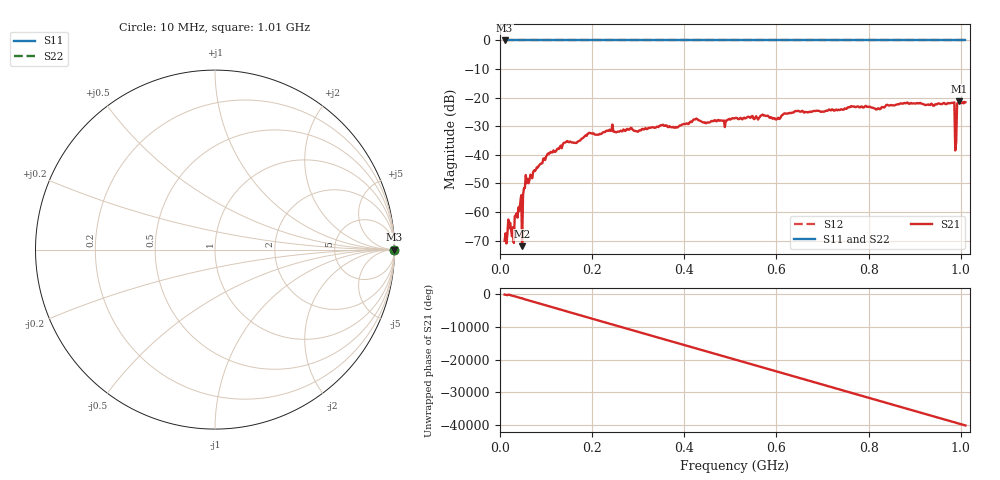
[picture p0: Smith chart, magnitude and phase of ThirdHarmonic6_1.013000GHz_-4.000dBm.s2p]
! 8/16/2025 8:22:04 AM
! C:\ANRITSUVNA\TEMP\TEMP.S2P
! CHANNEL.1
! TR.MEASUREMENT
! RAW.DATA
! RF.CORRECTION.OFF
! AVERAGING.OFF
! IF.BANDWIDTH: 5KHZ
! SWEEPTYPE:  FREQ.SWEEP(Linear)
! Reference Plane Port Info
! PORT:  PORT1  PORT2
! DISTANCE:  0  m  0  m
! TIME:  0  s  0  s
! PHASE.OFFSET:  0  deg.  0  deg.
! LOSS:  0  dB  0  dB
! REF.LOSS:  0  dB  0  dB
! REF.FREQ:  0  Hz  0  Hz
! Power Info
! POWER:  -20  dBm  -20  dBm
! EFF.POWER:  -20  dBm  -20  dBm
! SOURCE.ATTEN:  0  dB  0  dB
! TEST.ATTEN:  0  dB  0  dB
# GHZ S RI R 50.0
! FREQ.GHZ  S11RE  S11IM  S21RE  S21IM  S12RE  S12IM  S22RE  S22IM
!; PortSelection: Port_12
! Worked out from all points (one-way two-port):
!   501 points, 10 MHz to 1.01 GHz, reference 50 ohm
!   highest |S21| = -21.34 dB at 996 MHz (marker M1); lowest = -72.0 dB at 48 MHz (marker M2)
!   lowest |S11| = 0.0 dB at 10 MHz (marker M3)
!   |S11| at or under -10 dB: nowhere
!   |S22| runs from 0.0 to 0.0 dB; largest |S21 - S12| = 1.1
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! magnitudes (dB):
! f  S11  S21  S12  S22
! 10 MHz  0.0  -70.1  0.0  0.0
! 20 MHz  0.0  -65.7  0.0  0.0
! 28 MHz  0.0  -65.4  0.0  0.0
! 36 MHz  0.0  -60.5  0.0  0.0
! 48 MHz  0.0  -72.0  0.0  0.0
! 52 MHz  0.0  -51.7  0.0  0.0
! 54 MHz  0.0  -51.7  0.0  0.0
! 56 MHz  0.0  -47.1  0.0  0.0
! 104 MHz  0.0  -39.6  0.0  0.0
! 178 MHz  0.0  -34.3  0.0  0.0
! 240 MHz  0.0  -31.7  0.0  0.0
! 344 MHz  0.0  -30.3  0.0  0.0
! 510 MHz  0.0  -27.2  0.0  0.0
! 602 MHz  0.0  -27.3  0.0  0.0
! 678 MHz  0.0  -24.9  0.0  0.0
! 844 MHz  0.0  -22.8  0.0  0.0
! 982 MHz  0.0  -21.8  0.0  0.0
! 986 MHz  0.0  -21.7  0.0  0.0
! 990 MHz  0.0  -35.6  0.0  0.0
! 992 MHz  0.0  -22.2  0.0  0.0
! 996 MHz  0.0  -21.3  0.0  0.0
! 1.01 GHz  0.0  -21.6  0.0  0.0
